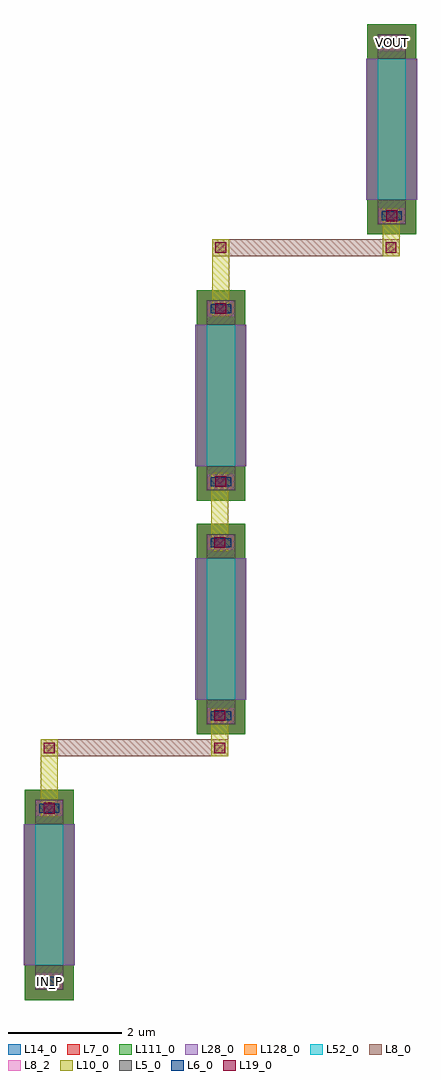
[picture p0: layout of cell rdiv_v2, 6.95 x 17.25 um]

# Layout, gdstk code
from math import pi, radians
import gdstk
lib = gdstk.Library(unit=1e-6, precision=1e-09)
def R(c, l, rs):  # rectangles x0, y0, x1, y1
    for r in rs: c.add(gdstk.rectangle(r[:2], r[2:], *l))
L5_0 = (5, 0)
L6_0 = (6, 0)
L7_0 = (7, 0)
L8_0 = (8, 0)
L8_2 = (8, 2)
L10_0 = (10, 0)
L14_0 = (14, 0)
L19_0 = (19, 0)
L28_0 = (28, 0)
L52_0 = (52, 0)
L111_0 = (111, 0)
L128_0 = (128, 0)

rhigh_1 = lib.new_cell('rhigh$1')
R(rhigh_1, L5_0, [(0,-0.43,0.5,0), (0,2.5,0.5,2.93)])
R(rhigh_1, L6_0, [(0.07,-0.36,0.43,-0.2), (0.07,2.7,0.43,2.86)])
R(rhigh_1, L7_0, [(-0.18,-0.61,0.68,0.18), (-0.18,0,0.68,2.5), (-0.18,0,0.68,2.5), (-0.18,2.32,0.68,3.11)])
R(rhigh_1, L8_0, [(0.02,-0.41,0.48,-0.15), (0.02,2.65,0.48,2.91)])
R(rhigh_1, L8_2, [(0.02,-0.41,0.48,-0.15), (0.02,-0.41,0.48,-0.15), (0.02,2.65,0.48,2.91), (0.02,2.65,0.48,2.91)])
R(rhigh_1, L14_0, [(-0.18,-0.61,0.68,0.18), (-0.18,0,0.68,2.5), (-0.18,0,0.68,2.5), (-0.18,2.32,0.68,3.11)])
R(rhigh_1, L28_0, [(-0.2,0,0.7,2.5)])
R(rhigh_1, L52_0, [(0,0,0.5,2.5)])
R(rhigh_1, L111_0, [(-0.18,-0.61,0.68,0.18), (-0.2,0,0.7,2.5), (-0.18,2.32,0.68,3.11)])
R(rhigh_1, L128_0, [(0,0,0.5,2.5)])
rhigh_1.add(gdstk.Label('rpnd r=7711.304', (0.25,1.25), layer=63, texttype=0))
rhigh_1.add(gdstk.Label('rhigh', (0.25,1.25), layer=52, texttype=0))

rdiv_v2 = lib.new_cell('rdiv_v2')
R(rdiv_v2, L8_0, [(14.117,7.932,17.426,8.232), (17.147,16.769,20.456,17.069)])
R(rdiv_v2, L10_0, [(14.117,6.86,14.417,8.232), (17.126,7.932,17.426,8.779), (17.124,11.549,17.424,12.943), (17.147,15.697,17.447,17.069), (20.156,16.769,20.456,17.616)])
R(rdiv_v2, L19_0, [(14.17,6.915,14.36,7.105), (14.17,7.981,14.36,8.171), (17.18,7.981,17.37,8.171), (17.18,8.553,17.37,8.743), (17.18,11.613,17.37,11.803), (17.201,12.689,17.391,12.879), (17.201,15.75,17.391,15.94), (17.201,16.825,17.391,17.015), (20.211,16.825,20.401,17.015), (20.223,17.389,20.413,17.579)])
rdiv_v2.add(gdstk.Reference(rhigh_1, (20.566,20.262), rotation=pi))
rdiv_v2.add(gdstk.Reference(rhigh_1, (17.047,13.058)))
rdiv_v2.add(gdstk.Reference(rhigh_1, (17.547,11.425), rotation=pi))
rdiv_v2.add(gdstk.Reference(rhigh_1, (14.514,6.73), rotation=pi))
rdiv_v2.add(gdstk.Label('IN_P', (14.265,3.945), layer=8, texttype=1))
rdiv_v2.add(gdstk.Label('VOUT', (20.326,20.537), layer=8, texttype=1))

lib.write_gds('rdiv_v2.gds')
